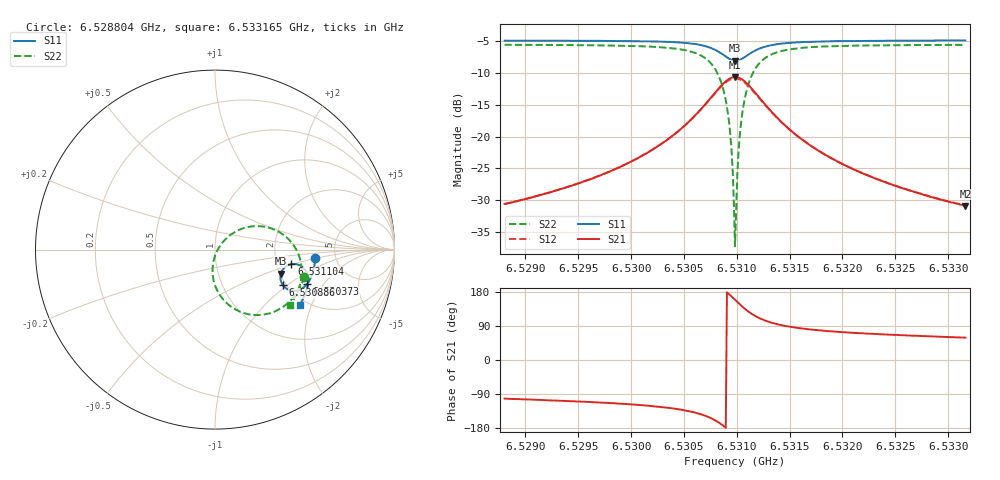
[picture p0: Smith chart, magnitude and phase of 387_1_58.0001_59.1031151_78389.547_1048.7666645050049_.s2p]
#  HZ  S  RI  R  50.00
! Rohde & Schwarz Vector Network Analyzer
! Rohde-Schwarz,ZNB20-2Port,1311601062101988,3.16
! Created: UTC 3/21/2024, 1:07:40 AM
! freq[Hz]  re:S11  im:S11  re:S21  im:S21  re:S12  im:S12  re:S22  im:S22
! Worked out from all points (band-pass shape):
!   401 points, 6.528804 GHz to 6.533165 GHz, reference 50 ohm
!   highest |S21| = -10.70 dB at 6.530984 GHz (marker M1); lowest = -30.9 dB at 6.533165 GHz (marker M2)
!   |S21| within 3 dB of the highest: 6.530767 GHz to 6.531203 GHz (435.7 kHz wide, 0.00667 % of centre)
!   lowest |S11| = -8.2 dB at 6.530984 GHz (marker M3), VSWR 2.28, Z = 101 - j31.9 ohm
!   |S11| at or under -10 dB: nowhere
!   |S22| runs from -37.1 to -5.7 dB; largest |S21 - S12| = 0.011
!   S11 on the Smith chart (normalised r, x): 6.528804 GHz: 3.49, -0.48; 6.530373 GHz: 2.57, -1.40; 6.530886 GHz: 1.92, -0.94; 6.531104 GHz: 2.41, -0.48; 6.533165 GHz: 1.82, -1.65
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6.5288035e9  0.5593 -0.0475  -0.00609 -0.0291  -0.00674 -0.0288  0.4986 -0.1505
6.529534e9  0.5498 -0.1074  -0.0149 -0.0412  -0.0159 -0.0411  0.4697 -0.2171
6.5302645e9  0.5228 -0.1782  -0.0468 -0.0709  -0.0486 -0.0698  0.3925 -0.3097
6.5303735e9  0.514 -0.1909  -0.0592 -0.0786  -0.0612 -0.0771  0.3663 -0.3278
6.5307224e9  0.4479 -0.2294  -0.1605 -0.0952  -0.1625 -0.0889  0.1746 -0.3575
6.5308205e9  0.4075 -0.2224  -0.223 -0.0673  -0.2221 -0.0583  0.0689 -0.3015
6.5308859e9  0.3789 -0.1989  -0.265 -0.0175  -0.2601 -0.00832  0.00475 -0.2113
6.5309295e9  0.3663 -0.1728  -0.2808 0.0327  -0.2729 0.0404  -0.0138 -0.125
6.5309513e9  0.3642 -0.1573  -0.2817 0.0615  -0.2727 0.0674  -0.0108 -0.0777
6.5309622e9  0.3641 -0.1492  -0.28 0.0761  -0.2707 0.0812  -0.00582 -0.054
6.5309731e9  0.3652 -0.1413  -0.2769 0.0906  -0.2673 0.0949  0.00171 -0.0305
6.530984e9  0.367 -0.1334  -0.2724 0.1049  -0.2626 0.1083  0.0114 -0.008
6.5310058e9  0.3731 -0.1185  -0.2592 0.1314  -0.2492 0.133  0.0373 0.0339
6.5310167e9  0.3775 -0.1116  -0.2507 0.1434  -0.2412 0.1443  0.0531 0.0525
6.5310385e9  0.3878 -0.0998  -0.231 0.1645  -0.2221 0.1639  0.0886 0.0839
6.5310713e9  0.4062 -0.0872  -0.1973 0.1868  -0.1897 0.1848  0.1481 0.1156
6.531104e9  0.4255 -0.0809  -0.1623 0.1987  -0.1566 0.1958  0.2081 0.1296
6.5311803e9  0.4646 -0.0844  -0.0936 0.1965  -0.0906 0.1939  0.3237 0.114
6.5312893e9  0.4975 -0.1072  -0.0356 0.1663  -0.0343 0.1649  0.4181 0.0491
6.5317145e9  0.5194 -0.1833  0.0143 0.0821  0.0153 0.0818  0.4832 -0.1291
6.532445e9  0.4993 -0.2558  0.0168 0.0392  0.0175 0.0391  0.4555 -0.245
6.5331645e9  0.4715 -0.3084  0.0148 0.0246  0.0152 0.0244  0.4204 -0.3068
